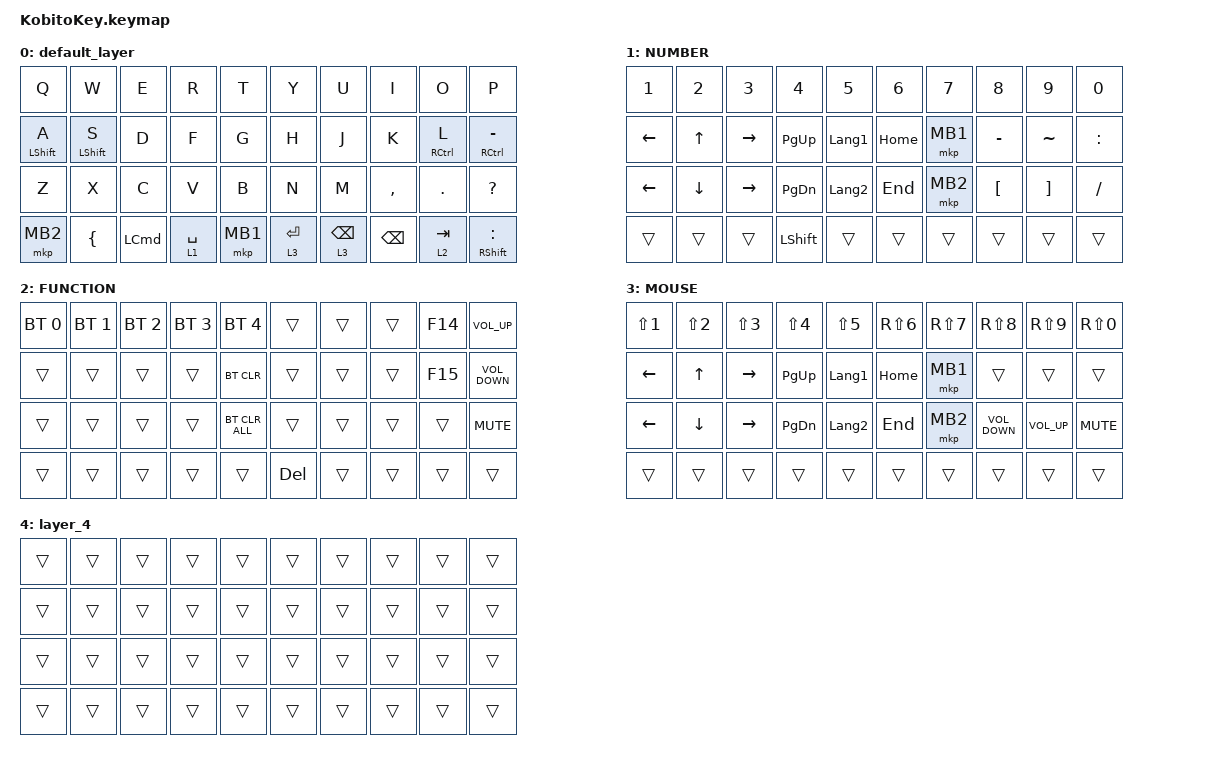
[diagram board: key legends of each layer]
#include <input/processors.dtsi>
#include <behaviors.dtsi>
#include <dt-bindings/zmk/bt.h>
#include <dt-bindings/zmk/keys.h>
#include <dt-bindings/zmk/pointing.h>

/ {
    combos {
        compatible = "zmk,combos";

        combo_eisu {
            timeout-ms = <50>;
            key-positions = <10 11>;
            bindings = <&kp LANG2>;
        };

        combo_kana {
            timeout-ms = <50>;
            key-positions = <0 1>;
            bindings = <&kp LANG1>;
        };

        ctr1 {
            bindings = <&kp LCTRL>;
            key-positions = <14 13>;
        };

        tb {
            bindings = <&kp TAB>;
            key-positions = <4 3>;
        };
    };

    keymap {
        compatible = "zmk,keymap";

        default_layer {
            bindings = <
&kp Q             &kp W             &kp E     &kp R        &kp T     &kp Y        &kp U            &kp I          &kp O                &kp P
&mt LEFT_SHIFT A  &mt LEFT_SHIFT S  &kp D     &kp F        &kp G     &kp H        &kp J            &kp K          &mt RIGHT_CONTROL L  &mt RIGHT_CONTROL MINUS
&kp Z             &kp X             &kp C     &kp V        &kp B     &kp N        &kp M            &kp COMMA      &kp DOT              &kp QUESTION
&mkp MB2          &kp LEFT_BRACE    &kp LCMD  &lt 1 SPACE  &mkp MB1  &lt 3 ENTER  &lt 3 BACKSPACE  &kp BACKSPACE  &lt 2 TAB            &mt RIGHT_SHIFT COLON
            >;
        };

        layer1 {
            label = "NUMBER";
            bindings = <
&kp NUMBER_1    &kp NUMBER_2  &kp NUMBER_3  &kp NUMBER_4   &kp N5          &kp NUMBER_6  &kp N7    &kp N8     &kp N9     &kp N0
&kp LEFT_ARROW  &kp UP_ARROW  &kp RIGHT     &kp PAGE_UP    &kp LANGUAGE_1  &kp HOME      &mkp MB1  &kp MINUS  &kp TILDE  &kp COLON
&kp LEFT        &kp DOWN      &kp RIGHT     &kp PAGE_DOWN  &kp LANGUAGE_2  &kp END       &mkp MB2  &kp LBKT   &kp RBKT   &kp SLASH
&trans          &trans        &trans        &kp LSHFT      &trans          &trans        &trans    &trans     &trans     &trans
            >;
        };

        layer2 {
            label = "FUNCTION";
            bindings = <
&bt BT_SEL 0  &bt BT_SEL 1  &bt BT_SEL 2  &bt BT_SEL 3  &bt BT_SEL 4    &trans   &trans  &trans  &kp F14  &kp C_VOLUME_UP
&trans        &trans        &trans        &trans        &bt BT_CLR      &trans   &trans  &trans  &kp F15  &kp C_VOLUME_DOWN
&trans        &trans        &trans        &trans        &bt BT_CLR_ALL  &trans   &trans  &trans  &trans   &kp K_MUTE
&trans        &trans        &trans        &trans        &trans          &kp DEL  &trans  &trans  &trans   &trans
            >;
        };

        layer3 {
            label = "MOUSE";
            bindings = <
&kp LS(NUMBER_1)  &kp LS(NUMBER_2)  &kp LS(NUMBER_3)  &kp LS(NUMBER_4)  &kp LS(N5)      &kp RS(NUMBER_6)  &kp RS(N7)  &kp RS(N8)         &kp RS(N9)       &kp RS(N0)
&kp LEFT_ARROW    &kp UP_ARROW      &kp RIGHT_ARROW   &kp PAGE_UP       &kp LANGUAGE_1  &kp HOME          &mkp MB1    &trans             &trans           &trans
&kp LEFT          &kp DOWN_ARROW    &kp RIGHT_ARROW   &kp PAGE_DOWN     &kp LANGUAGE_2  &kp END           &mkp MB2    &kp C_VOLUME_DOWN  &kp C_VOLUME_UP  &kp K_MUTE
&trans            &trans            &trans            &trans            &trans          &trans            &trans      &trans             &trans           &trans
            >;
        };

        layer_4 {
            bindings = <
&trans  &trans  &trans  &trans  &trans  &trans  &trans  &trans  &trans  &trans
&trans  &trans  &trans  &trans  &trans  &trans  &trans  &trans  &trans  &trans
&trans  &trans  &trans  &trans  &trans  &trans  &trans  &trans  &trans  &trans
&trans  &trans  &trans  &trans  &trans  &trans  &trans  &trans  &trans  &trans
            >;
        };
    };
};
